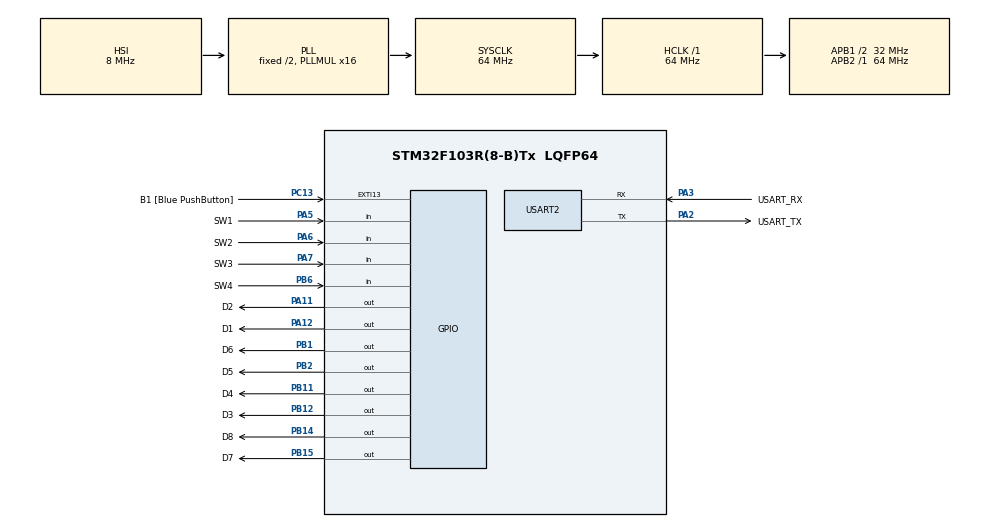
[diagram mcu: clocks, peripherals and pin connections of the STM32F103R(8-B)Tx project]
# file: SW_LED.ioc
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Mcu.Family=STM32F1
Mcu.Name=STM32F103R(8-B)Tx
Mcu.Package=LQFP64
NVIC.EXTI15_10_IRQn=true\:0\:0\:false\:false\:true\:true\:true\:true
NVIC.PriorityGroup=NVIC_PRIORITYGROUP_4
PA11.GPIO_Label=D2
PA11.Signal=GPIO_Output
PA12.GPIO_Label=D1
PA12.Signal=GPIO_Output
PA13.GPIO_Label=TMS
PA13.Mode=Serial_Wire
PA13.Signal=SYS_JTMS-SWDIO
PA14.GPIO_Label=TCK
PA14.Mode=Serial_Wire
PA14.Signal=SYS_JTCK-SWCLK
PA2.GPIO_Label=USART_TX
PA2.GPIO_Mode=GPIO_MODE_AF_PP
PA2.GPIO_PuPd=GPIO_NOPULL
PA2.GPIO_Speed=GPIO_SPEED_FREQ_LOW
PA2.Mode=Asynchronous
PA2.Signal=USART2_TX
PA3.GPIO_Label=USART_RX
PA3.GPIO_Mode=GPIO_MODE_AF_PP
PA3.GPIO_PuPd=GPIO_NOPULL
PA3.GPIO_Speed=GPIO_SPEED_FREQ_LOW
PA3.Mode=Asynchronous
PA3.Signal=USART2_RX
PA5.GPIO_Label=SW1
PA5.Signal=GPIO_Input
PA6.GPIO_Label=SW2
PA6.Signal=GPIO_Input
PA7.GPIO_Label=SW3
PA7.Signal=GPIO_Input
PB1.GPIO_Label=D6
PB1.Signal=GPIO_Output
PB11.GPIO_Label=D4
PB11.Signal=GPIO_Output
PB12.GPIO_Label=D3
PB12.Signal=GPIO_Output
PB14.GPIO_Label=D8
PB14.Signal=GPIO_Output
PB15.GPIO_Label=D7
PB15.Signal=GPIO_Output
PB2.GPIO_Label=D5
PB2.Signal=GPIO_Output
PB3.GPIO_Label=SWO
PB3.Signal=SYS_JTDO-TRACESWO
PB6.GPIO_Label=SW4
PB6.Signal=GPIO_Input
PC13-TAMPER-RTC.GPIO_Label=B1 [Blue PushButton]
PC13-TAMPER-RTC.GPIO_PuPd=GPIO_NOPULL
PC13-TAMPER-RTC.Signal=GPXTI13
PC14-OSC32_IN.Signal=RCC_OSC32_IN
PC15-OSC32_OUT.Signal=RCC_OSC32_OUT
PD0-OSC_IN.Signal=RCC_OSC_IN
PD1-OSC_OUT.Signal=RCC_OSC_OUT
ProjectManager.HeapSize=0x200
ProjectManager.StackSize=0x400
ProjectManager.TargetToolchain=STM32CubeIDE
RCC.AHBFreq_Value=64000000
RCC.APB1CLKDivider=RCC_HCLK_DIV2
RCC.APB1Freq_Value=32000000
RCC.APB1TimFreq_Value=64000000
RCC.APB2Freq_Value=64000000
RCC.APB2TimFreq_Value=64000000
RCC.HCLKFreq_Value=64000000
RCC.PLLMUL=RCC_PLL_MUL16
RCC.RTCClockSelection=RCC_RTCCLKSOURCE_LSE
RCC.SYSCLKFreq_VALUE=64000000
RCC.SYSCLKSource=RCC_SYSCLKSOURCE_PLLCLK
RCC.USBFreq_Value=64000000
USART2.VirtualMode=VM_ASYNC
board=NUCLEO-F103RB

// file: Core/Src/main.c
/* USER CODE BEGIN Header */
/**
  ******************************************************************************
  * @file           : main.c
  * @brief          : Main program body
  ******************************************************************************
  * @attention
  *
  * Copyright (c) 2022 STMicroelectronics.
  * All rights reserved.
  *
  * This software is licensed under terms that can be found in the LICENSE file
  * in the root directory of this software component.
  * If no LICENSE file comes with this software, it is provided AS-IS.
  *
  ******************************************************************************
  */
/* USER CODE END Header */
#include "main.h"

 UART_HandleTypeDef huart2;

void SystemClock_Config(void);
static void MX_GPIO_Init(void);
static void MX_USART2_UART_Init(void);

/* USER CODE BEGIN 0 */
typedef struct led_t led_t;
   struct led_t {
     GPIO_TypeDef *port;
     int pin;
 };

led_t led[8]={
		{GPIOA, D1_Pin},
		{GPIOA, D2_Pin},
		{GPIOB, D3_Pin},
		{GPIOB, D4_Pin},
		{GPIOB, D5_Pin},
		{GPIOB, D6_Pin},
		{GPIOB, D7_Pin},
		{GPIOB, D8_Pin}
};
/* USER CODE END 0 */

int main(void)
{

  /* MCU Configuration--------------------------------------------------------*/

  /* Reset of all peripherals, Initializes the Flash interface and the Systick. */
  HAL_Init();

  /* Configure the system clock */
  SystemClock_Config();

  /* Initialize all configured peripherals */
  MX_GPIO_Init();
  MX_USART2_UART_Init();

  /* Infinite loop */
  while (1)
  {
	  if(HAL_GPIO_ReadPin(GPIOA, SW1_Pin)){
		  HAL_GPIO_WritePin(led[0].port, led[0].pin, SET);
		  HAL_GPIO_WritePin(led[4].port, led[4].pin, SET);
	  }
	  if(HAL_GPIO_ReadPin(GPIOA, SW2_Pin)){
	  		  HAL_GPIO_WritePin(led[0].port, led[0].pin, SET);
	  		  HAL_GPIO_WritePin(led[1].port, led[1].pin, SET);
	  		HAL_GPIO_WritePin(led[5].port, led[5].pin, SET);
	  			 HAL_GPIO_WritePin(led[4].port, led[4].pin, SET);
	  	  }
	  if(HAL_GPIO_ReadPin(GPIOA, SW3_Pin)){
		  HAL_GPIO_WritePin(led[0].port, led[0].pin, RESET);
		  	  		 HAL_GPIO_WritePin(led[0].port, led[0].pin, SET);
		  	  		HAL_GPIO_WritePin(led[1].port, led[1].pin, SET);
		  	  		HAL_GPIO_WritePin(led[2].port, led[2].pin, SET);
		  	  		HAL_GPIO_WritePin(led[3].port, led[3].pin, SET);
		  	  		HAL_GPIO_WritePin(led[4].port, led[4].pin, SET);
		  	  		HAL_GPIO_WritePin(led[5].port, led[5].pin, SET);
		  	  		HAL_GPIO_WritePin(led[6].port, led[6].pin, SET);
		  	  	HAL_GPIO_WritePin(led[7].port, led[7].pin, SET);
	  	  }
	  if(HAL_GPIO_ReadPin(GPIOB, SW4_Pin)){
	  		 HAL_GPIO_WritePin(led[0].port, led[0].pin, RESET);
	  		 HAL_GPIO_WritePin(led[1].port, led[1].pin, RESET);
	  		HAL_GPIO_WritePin(led[2].port, led[2].pin, RESET);
	  		HAL_GPIO_WritePin(led[3].port, led[3].pin, RESET);
	  		HAL_GPIO_WritePin(led[4].port, led[4].pin, RESET);
	  		HAL_GPIO_WritePin(led[5].port, led[5].pin, RESET);
	  		HAL_GPIO_WritePin(led[6].port, led[6].pin, RESET);
	  		HAL_GPIO_WritePin(led[7].port, led[7].pin, RESET);
	  	  }
  }
}

void SystemClock_Config(void)
{
  RCC_OscInitTypeDef RCC_OscInitStruct = {0};
  RCC_ClkInitTypeDef RCC_ClkInitStruct = {0};

  /** Initializes the RCC Oscillators according to the specified parameters
  * in the RCC_OscInitTypeDef structure.
  */
  RCC_OscInitStruct.OscillatorType = RCC_OSCILLATORTYPE_HSI;
  RCC_OscInitStruct.HSIState = RCC_HSI_ON;
  RCC_OscInitStruct.HSICalibrationValue = RCC_HSICALIBRATION_DEFAULT;
  RCC_OscInitStruct.PLL.PLLState = RCC_PLL_ON;
  RCC_OscInitStruct.PLL.PLLSource = RCC_PLLSOURCE_HSI_DIV2;
  RCC_OscInitStruct.PLL.PLLMUL = RCC_PLL_MUL16;
  if (HAL_RCC_OscConfig(&RCC_OscInitStruct) != HAL_OK)
  {
    Error_Handler();
  }

  /** Initializes the CPU, AHB and APB buses clocks
  */
  RCC_ClkInitStruct.ClockType = RCC_CLOCKTYPE_HCLK|RCC_CLOCKTYPE_SYSCLK
                              |RCC_CLOCKTYPE_PCLK1|RCC_CLOCKTYPE_PCLK2;
  RCC_ClkInitStruct.SYSCLKSource = RCC_SYSCLKSOURCE_PLLCLK;
  RCC_ClkInitStruct.AHBCLKDivider = RCC_SYSCLK_DIV1;
  RCC_ClkInitStruct.APB1CLKDivider = RCC_HCLK_DIV2;
  RCC_ClkInitStruct.APB2CLKDivider = RCC_HCLK_DIV1;

  if (HAL_RCC_ClockConfig(&RCC_ClkInitStruct, FLASH_LATENCY_2) != HAL_OK)
  {
    Error_Handler();
  }
}

static void MX_USART2_UART_Init(void)
{

  huart2.Instance = USART2;
  huart2.Init.BaudRate = 115200;
  huart2.Init.WordLength = UART_WORDLENGTH_8B;
  huart2.Init.StopBits = UART_STOPBITS_1;
  huart2.Init.Parity = UART_PARITY_NONE;
  huart2.Init.Mode = UART_MODE_TX_RX;
  huart2.Init.HwFlowCtl = UART_HWCONTROL_NONE;
  huart2.Init.OverSampling = UART_OVERSAMPLING_16;
  if (HAL_UART_Init(&huart2) != HAL_OK)
  {
    Error_Handler();
  }

}

static void MX_GPIO_Init(void)
{
  GPIO_InitTypeDef GPIO_InitStruct = {0};

  /* GPIO Ports Clock Enable */
  __HAL_RCC_GPIOC_CLK_ENABLE();
  __HAL_RCC_GPIOD_CLK_ENABLE();
  __HAL_RCC_GPIOA_CLK_ENABLE();
  __HAL_RCC_GPIOB_CLK_ENABLE();

  /*Configure GPIO pin Output Level */
  HAL_GPIO_WritePin(GPIOB, D6_Pin|D5_Pin|D4_Pin|D3_Pin
                          |D8_Pin|D7_Pin, GPIO_PIN_RESET);

  /*Configure GPIO pin Output Level */
  HAL_GPIO_WritePin(GPIOA, D2_Pin|D1_Pin, GPIO_PIN_RESET);

  /*Configure GPIO pin : B1_Pin */
  GPIO_InitStruct.Pin = B1_Pin;
  GPIO_InitStruct.Mode = GPIO_MODE_IT_RISING;
  GPIO_InitStruct.Pull = GPIO_NOPULL;
  HAL_GPIO_Init(B1_GPIO_Port, &GPIO_InitStruct);

  /*Configure GPIO pins : SW1_Pin SW2_Pin SW3_Pin */
  GPIO_InitStruct.Pin = SW1_Pin|SW2_Pin|SW3_Pin;
  GPIO_InitStruct.Mode = GPIO_MODE_INPUT;
  GPIO_InitStruct.Pull = GPIO_NOPULL;
  HAL_GPIO_Init(GPIOA, &GPIO_InitStruct);

  /*Configure GPIO pins : D6_Pin D5_Pin D4_Pin D3_Pin
                           D8_Pin D7_Pin */
  GPIO_InitStruct.Pin = D6_Pin|D5_Pin|D4_Pin|D3_Pin
                          |D8_Pin|D7_Pin;
  GPIO_InitStruct.Mode = GPIO_MODE_OUTPUT_PP;
  GPIO_InitStruct.Pull = GPIO_NOPULL;
  GPIO_InitStruct.Speed = GPIO_SPEED_FREQ_LOW;
  HAL_GPIO_Init(GPIOB, &GPIO_InitStruct);

  /*Configure GPIO pins : D2_Pin D1_Pin */
  GPIO_InitStruct.Pin = D2_Pin|D1_Pin;
  GPIO_InitStruct.Mode = GPIO_MODE_OUTPUT_PP;
  GPIO_InitStruct.Pull = GPIO_NOPULL;
  GPIO_InitStruct.Speed = GPIO_SPEED_FREQ_LOW;
  HAL_GPIO_Init(GPIOA, &GPIO_InitStruct);

  /*Configure GPIO pin : SW4_Pin */
  GPIO_InitStruct.Pin = SW4_Pin;
  GPIO_InitStruct.Mode = GPIO_MODE_INPUT;
  GPIO_InitStruct.Pull = GPIO_NOPULL;
  HAL_GPIO_Init(SW4_GPIO_Port, &GPIO_InitStruct);

  /* EXTI interrupt init*/
  HAL_NVIC_SetPriority(EXTI15_10_IRQn, 0, 0);
  HAL_NVIC_EnableIRQ(EXTI15_10_IRQn);

}

void Error_Handler(void)
{
  __disable_irq();
  while (1)
  {
  }
}
